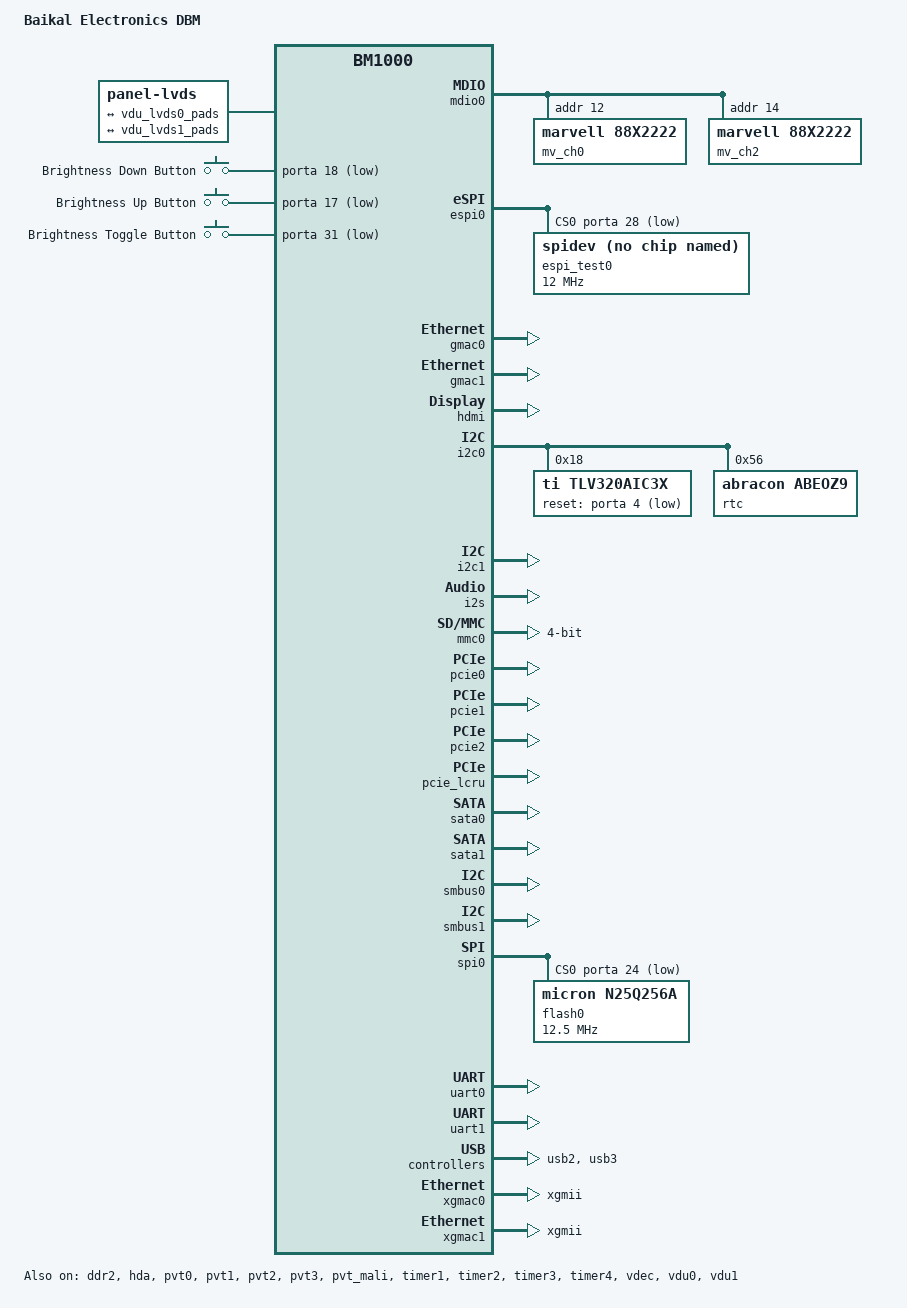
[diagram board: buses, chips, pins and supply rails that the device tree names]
// SPDX-License-Identifier: GPL-2.0
/*
 * Device tree source for Baikal Electronics DBM board
 * Copyright (C) 2019-2021 Baikal Electronics, JSC
 */

/dts-v1/;

#include <dt-bindings/input/input.h>
#include "bm1000.dtsi"

/ {
	model = "Baikal Electronics DBM";
	compatible = "baikal,baikal-m";
	#address-cells = <2>;
	#size-cells = <2>;

	chosen { };

	panel {
		compatible = "panel-lvds";
		width-mm = <223>;
		height-mm = <125>;
		data-mapping = "vesa-24";
		panel-timing {
			/* 1920x1080 @ 60 Hz */
			clock-frequency = <148500000>;
			hactive = <1920>;
			vactive = <1080>;
			hsync-len = <44>;
			hfront-porch = <88>;
			hback-porch = <148>;
			vsync-len = <5>;
			vfront-porch = <4>;
			vback-porch = <36>;
		};
		port {
			panel0_lvds0: endpoint@0 {
				remote-endpoint = <&vdu_lvds0_pads>;
			};
			panel0_lvds1: endpoint@1 {
				remote-endpoint = <&vdu_lvds1_pads>;
			};
		};
	};

	buttons-backlight {
		compatible = "gpio-keys";
		autorepeat;
		button-brightness-down {
			label = "Brightness Down Button";
			linux,code = <KEY_BRIGHTNESSDOWN>;
			gpios = <&porta 18 GPIO_ACTIVE_LOW>;
			debounce-interval = <50>;
		};
		button-brightness-up {
			label = "Brightness Up Button";
			linux,code = <KEY_BRIGHTNESSUP>;
			gpios = <&porta 17 GPIO_ACTIVE_LOW>;
			debounce-interval = <50>;
		};
		button-brightness-toggle {
			label = "Brightness Toggle Button";
			linux,code = <KEY_BRIGHTNESS_TOGGLE>;
			gpios = <&porta 31 GPIO_ACTIVE_LOW>;
			debounce-interval = <50>;
		};
	};

	sound {
		compatible = "baikal,snd_soc_be";
		baikal,cpu-dai = <&i2s>;
		baikal,audio-codec = <&tlv320aic3x>;
	};

	/* Baikal internal MDIO */
	mdio0: be-mdio {
		compatible = "be,mdio-gpio";
		#address-cells = <1>;
		#size-cells = <0>;
		mdc-pin = <&porta 30 GPIO_ACTIVE_HIGH>;
		mdio-pin = <&porta 29 GPIO_ACTIVE_HIGH>;
		clocks = <&gpio_clk 0>;
		clock-names = "gpioclk";

		mv_ch0: ethernet-phy@0C {
			compatible = "marvell,88x2222", "ethernet-phy-ieee802.3-c45";
			reg = <0x0C>;
			phy-mode = "xgmii";
			mv,line-mode = "KR";
			mv,host-mode = "KX4";
		};

		mv_ch2: ethernet-phy@0E {
			compatible = "marvell,88x2222", "ethernet-phy-ieee802.3-c45";
			reg = <0x0E>;
			phy-mode = "xgmii";
			mv,line-mode = "KR";
			mv,host-mode = "KX4";
		};
	};
};

&ddr2 {
	status = "okay";
};

&espi0 {
	cs-gpios = <&porta 28 1>; /* todo: get real gpio */
	status = "okay";

	/* test device #0 */
	espi_test0 {
		compatible = "rohm,dh2228fv"; /* same as spidev */
		reg = <0>;
		spi-max-frequency = <12000000>;
		status = "okay";
	};
};

&gmac0 {
	status = "okay";
	snps,reset-gp-out;
	snps,reset-active-low;
};

&gmac1 {
	status = "okay";
	snps,reset-gp-out;
	snps,reset-active-low;
};

&gpio {
	status = "okay";
};

&gpu {
	system-coherency = <0>;
};

&hda {
	status = "okay";
};

&hdmi {
	status = "okay";
};

&i2c0 {
	status = "okay";

	tlv320aic3x: tlv320aic3x@18 {
		#sound-dai-cells = <0>;
		compatible = "ti,tlv320aic3x";
		reg = <0x18>;
		reset-gpios = <&porta 4 GPIO_ACTIVE_LOW>;
		status = "okay";
		ai3x-micbias-vg = <1>;
		ai3x-ocmv = <1>;
	};

	rtc@56 {
		compatible = "abracon,abeoz9";
		reg = <0x56>;
	};
};

&i2c1 {
	status = "okay";
};

&i2s {
	status = "okay";
	sound-dai = <&tlv320aic3x>;
	system-clock-frequency = <12000000>;
};

&mmc0 {
	status = "okay";
#if 0
	/* emmc */
	non-removable;
	bus-width = <8>;
	max-clock = <200000000>;
#else
	/* sd */
	disable-wp;
	bus-width = <4>;
	max-clock = <25000000>;
#endif
};

&pcie0 {
	status = "okay";
};

&pcie1 {
	status = "okay";
};

&pcie2 {
	status = "okay";
};

&pcie_lcru {
	status = "okay";
};

&pvt0 {
	status = "okay";
};

&pvt1 {
	status = "okay";
};

&pvt2 {
	status = "okay";
};

&pvt3 {
	status = "okay";
};

&pvt_mali {
	status = "okay";
};

&sata0 {
	status = "okay";
};

&sata1 {
	status = "okay";
};

&smbus0 {
	status = "okay";
};

&smbus1 {
	status = "okay";
};

&spi0 {
	num-cs = <4>;
	cs-gpios =
		<&porta 24 1>, /* ss0 xp8 - DD53 normal flash */
		<&porta 25 1>, /* ss1 xp9 */
		<&porta 26 1>, /* ss2 xp10 */
		<&porta 27 1>; /* ss3 xp11 */
	status = "okay";

	/* SPI flash chip #1 */
	flash0: m25p80@0 {
		compatible = "micron,n25q256a", "jedec,spi-nor";
		reg = <0>;
		#address-cells = <1>;
		#size-cells = <1>;
		spi-max-frequency = <12500000>;
		status = "okay";

		/* Flash chip0 partitions */
		mtd0@0 {
			label = "bl1";
			reg = <0x00000000 0x00040000>;
			read-only;
		};

		mtd1@40000 {
			label = "fip";
			reg = <0x00040000 0x007c0000>;
		};

		mtd2@800000 {
			label = "rescue";
			reg = <0x00800000 0x01800000>;
		};
	};
};

#if 0
/* undefined */
&spi1 {
	num-cs = <4>;
	cs-gpios =
		<&porta 20 1>, /* ss0 xp15 - DD57 boot flash */
		<&porta 21 1>, /* ss1 xp16 */
		<&porta 22 1>, /* ss2 xp17 */
		<&porta 23 1>; /* ss3 xp18 */
	status = "okay";

	/* SPI flash chip #2 */
	flash0: m25p80@0 {
		compatible = "micron,n25q256a", "jedec,spi-nor";
		reg = <0>;
		#address-cells = <1>;
		#size-cells = <1>;
		spi-max-frequency = <12500000>;
		status = "okay";

		/* Flash chip1 partitions */
		mtd0@0 {
			label = "fip_backup";
			reg = <0x00000000 0x00400000>;
			read-only;
		};

		mtd1@400000 {
			label = "env_backup";
			reg = <0x00400000 0x00100000>;
			read-only;
		};

		mtd2@500000 {
			label = "data1";
			reg = <0x00500000 0x01b00000>;
		};
	};
};
#endif

&timer1 {
	status = "okay";
};

&timer2 {
	status = "okay";
};

&timer3 {
	status = "okay";
};

&timer4 {
	status = "okay";
};

&uart0 {
	status = "okay";
};

&uart1 {
	status = "okay";
};

&usb2 {
	status = "okay";
};

&usb3 {
	status = "okay";
};

&vdec {
	status = "okay";
};

&vdu0 {
	status = "okay";
	enable-gpios = <&porta 16 GPIO_ACTIVE_LOW>;
	backlight {
		min-brightness-level = <10>;
		default-brightness-level = <60>;
		brightness-level-step = <2>;
		pwm-frequency = <20000>;
	};
	port {
		vdu_lvds0_pads: endpoint@0 {
			remote-endpoint = <&panel0_lvds0>;
		};
		vdu_lvds1_pads: endpoint@1 {
			remote-endpoint = <&panel0_lvds1>;
		};
		/*vdu_lvds2_pads: endpoint@2 {
			remote-endpoint = <&panel0_lvds2>;
		};
		vdu_lvds3_pads: endpoint@3 {
			remote-endpoint = <&panel0_lvds3>;
		};*/
	};
};

&vdu1 {
	status = "okay";
};

&xgmac0 {
	status = "okay";
	phy-mode = "xgmii";
	be,pcs-mode = "KX4";
	ext-phy-handle = <&mv_ch0>;
};

&xgmac1 {
	status = "okay";
	phy-mode = "xgmii";
	be,pcs-mode = "KX4";
	ext-phy-handle = <&mv_ch0>;
};
